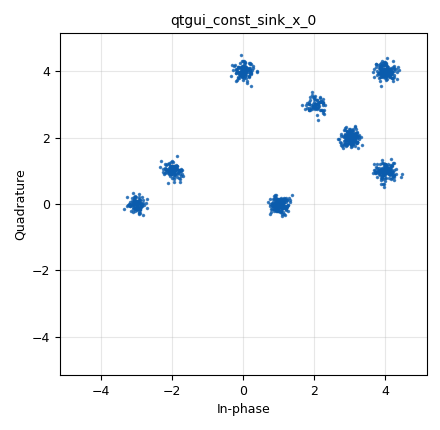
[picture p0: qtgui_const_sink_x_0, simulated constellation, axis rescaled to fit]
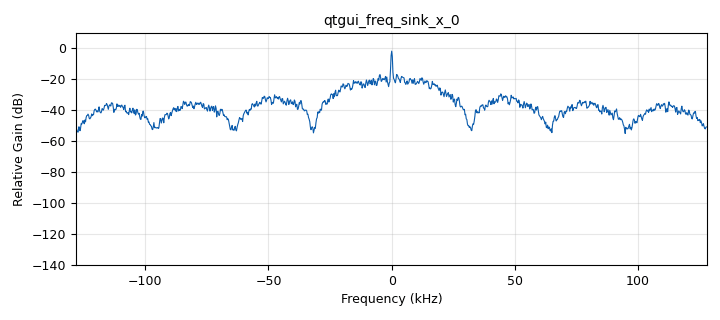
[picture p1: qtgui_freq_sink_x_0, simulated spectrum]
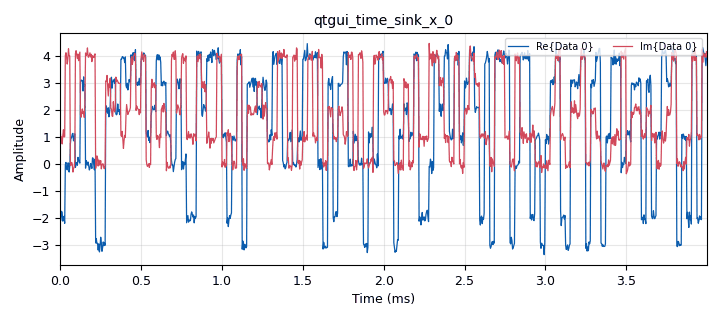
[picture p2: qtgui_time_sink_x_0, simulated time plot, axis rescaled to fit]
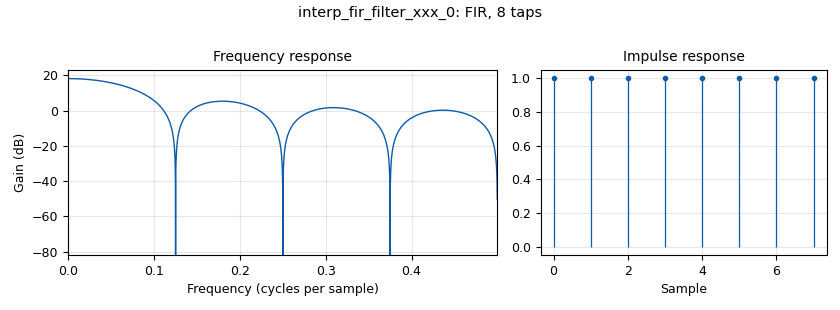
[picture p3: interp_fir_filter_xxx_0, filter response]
options:
  parameters:
    author: Jorge Bernal M
    generate_options: qt_gui
    id: options_1
    output_language: python
    title: eje1
  states: {}

blocks:
- name: M
  id: variable
  parameters:
    value: len(tabla_de_verdad_constelacion)
  states: {}
- name: Rb
  id: variable
  parameters:
    value: Rs*bps
  states: {}
- name: Rs
  id: variable
  parameters:
    value: '32000'
  states: {}
- name: bps
  id: variable
  parameters:
    value: int(math.log(M,2))
  states: {}
- name: h
  id: variable
  parameters:
    value: '[1]*sps'
  states: {}
- name: samp_rate
  id: variable
  parameters:
    value: Rs*sps
  states: {}
- name: sps
  id: variable
  parameters:
    value: '8'
  states: {}
- name: tabla_de_verdad_constelacion
  id: variable
  parameters:
    value: (2 + 3j, 0 + 4j, 1 + 0j, 4 + 4j, 3 + 2j, -2 + 1j, 4 + 1j, -3 + 0j)
  states: {}
- name: analog_noise_source_x_0
  id: analog_noise_source_x
  parameters:
    amp: '0.2'
    noise_type: analog.GR_GAUSSIAN
    seed: '0'
    type: complex
  states: {}
- name: analog_random_source_x_0
  id: analog_random_source_x
  parameters:
    max: '2'
    min: '0'
    num_samps: '1000'
    repeat: 'True'
    type: byte
  states: {}
- name: blocks_add_xx_0
  id: blocks_add_xx
  parameters:
    type: complex
  states: {}
- name: blocks_pack_k_bits_bb_0
  id: blocks_pack_k_bits_bb
  parameters:
    k: '8'
  states: {}
- name: blocks_packed_to_unpacked_xx_0
  id: blocks_packed_to_unpacked_xx
  parameters:
    bits_per_chunk: '3'
    endianness: gr.GR_MSB_FIRST
    type: byte
  states: {}
- name: digital_chunks_to_symbols_xx_0
  id: digital_chunks_to_symbols_xx
  parameters:
    dimension: '1'
    in_type: byte
    out_type: complex
    symbol_table: tabla_de_verdad_constelacion
  states: {}
- name: import_1
  id: import
  parameters:
    imports: import math
  states: {}
- name: interp_fir_filter_xxx_0
  id: interp_fir_filter_xxx
  parameters:
    interp: sps
    taps: h
    type: ccf
  states: {}
- name: qtgui_const_sink_x_0
  id: qtgui_const_sink_x
  parameters:
    size: '1024'
    type: complex
  states: {}
- name: qtgui_freq_sink_x_0
  id: qtgui_freq_sink_x
  parameters:
    average: '0.05'
    bw: samp_rate
    fc: '0'
    fftsize: '1024'
    type: complex
  states: {}
- name: qtgui_time_sink_x_0
  id: qtgui_time_sink_x
  parameters:
    size: '1024'
    srate: samp_rate
    type: complex
  states: {}
- name: virtual_sink_0
  id: virtual_sink
  parameters:
    stream_id: p1
  states: {}
- name: virtual_sink_1
  id: virtual_sink
  parameters:
    stream_id: p0
  states: {}
- name: virtual_source_0
  id: virtual_source
  parameters:
    stream_id: p1
  states: {}
- name: virtual_source_0_0
  id: virtual_source
  parameters:
    stream_id: p0
  states: {}

connections:
- [analog_noise_source_x_0, '0', blocks_add_xx_0, '0']
- [analog_random_source_x_0, '0', blocks_pack_k_bits_bb_0, '0']
- [blocks_add_xx_0, '0', virtual_sink_0, '0']
- [blocks_add_xx_0, '0', virtual_sink_1, '0']
- [blocks_pack_k_bits_bb_0, '0', blocks_packed_to_unpacked_xx_0, '0']
- [blocks_packed_to_unpacked_xx_0, '0', digital_chunks_to_symbols_xx_0, '0']
- [digital_chunks_to_symbols_xx_0, '0', interp_fir_filter_xxx_0, '0']
- [interp_fir_filter_xxx_0, '0', blocks_add_xx_0, '1']
- [virtual_source_0, '0', qtgui_const_sink_x_0, '0']
- [virtual_source_0, '0', qtgui_time_sink_x_0, '0']
- [virtual_source_0_0, '0', qtgui_freq_sink_x_0, '0']

metadata:
  file_format: 1
  grc_version: 3.10.9.2
